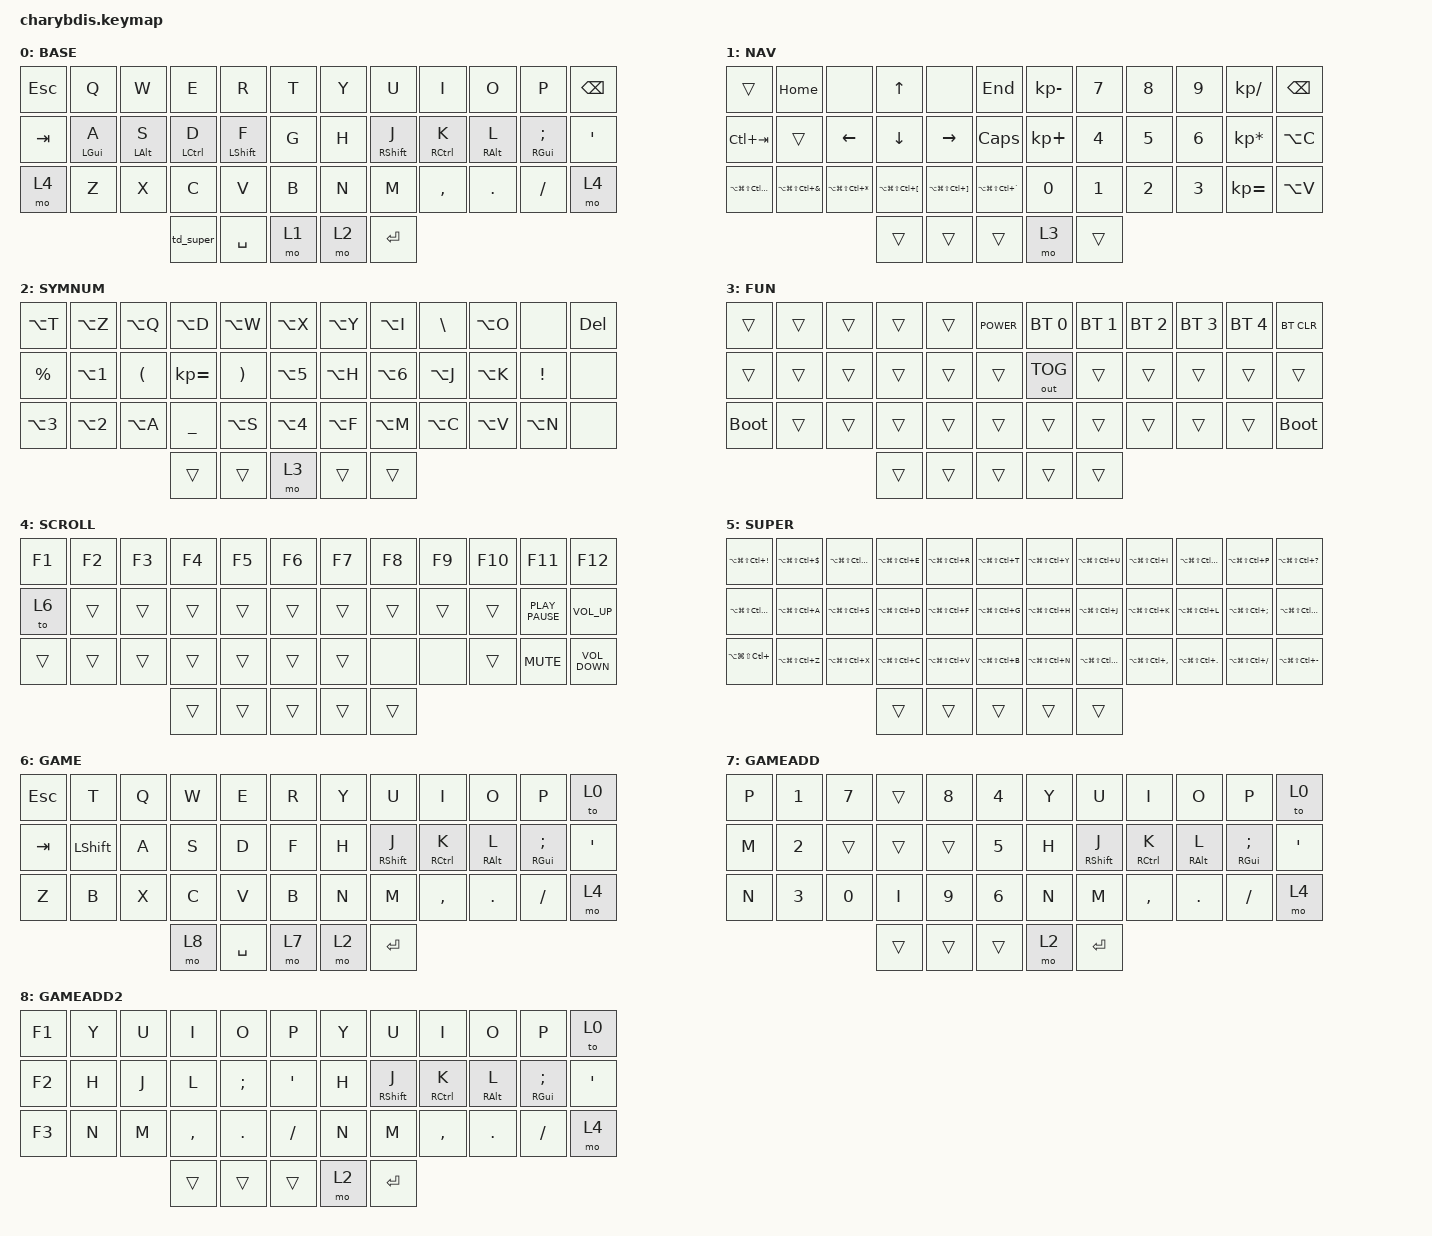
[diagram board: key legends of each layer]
#include <behaviors.dtsi>
#include <dt-bindings/zmk/bt.h>
#include <dt-bindings/zmk/keys.h>
//#include <dt-bindings/zmk/mouse.h>
#include <dt-bindings/zmk/outputs.h>

#define U_TAPPING_TERM 200

/ {
    chosen { zmk,matrix_transform = &default_transform; };
};

/ {
    combos {
        compatible = "zmk,combos";

        letterh {
            bindings = <&kp LBKT>;
            key-positions = <32 33>;
            layers = <0>;
        };
        lettersign {
            bindings = <&kp RBKT>;
            key-positions = <31 32>;
            layers = <0>;
        };
    };


    behaviors {
        td_super: td_super {
            compatible = "zmk,behavior-tap-dance";
            #binding-cells = <0>;
            tapping-term-ms = <300>;
            bindings = <&kp LGUI>, <&mo 5>, <&mo 4>;
        };

        u_mt: u_mt {
            compatible = "zmk,behavior-hold-tap";
            #binding-cells = <2>;
            tapping-term-ms = <U_TAPPING_TERM>;
            flavor = "tap-preferred";
            bindings = <&kp>, <&kp>;
        };

        u_lt: u_lt {
            compatible = "zmk,behavior-hold-tap";
            #binding-cells = <2>;
            tapping-term-ms = <U_TAPPING_TERM>;
            flavor = "tap-preferred";
            bindings = <&mo>, <&kp>;
        };

        Shift_Enter: Shift_Enter {
            compatible = "zmk,behavior-hold-tap";
            bindings = <&kp>, <&kp>;

            #binding-cells = <2>;
            hold-trigger-key-positions = <40>;
            tapping-term-ms = <100>;
        };
    };

    keymap {
        compatible = "zmk,keymap";

        BASE {
            bindings = <
&kp ESC  &kp Q         &kp W         &kp E                   &kp R               &kp T           &kp Y  &kp U               &kp I          &kp O              &kp P                 &kp BSPC
&kp TAB  &u_mt LGUI A  &u_mt LALT S  &u_mt LCTRL D           &u_mt LSHIFT F      &kp G           &kp H  &u_mt RSHIFT J      &u_mt RCTRL K  &u_mt RALT L       &u_mt RGUI SEMI       &kp APOS
&mo 4    &kp Z         &kp X         &kp C                   &kp V               &kp B           &kp N  &kp M               &kp COMMA      &kp DOT            &kp  FSLH             &mo 4
                                     &td_super               &kp SPACE           &mo 1           &mo 2  &kp RET
            >;
        };

        NAV {
            bindings = <
&trans                     &kp HOME                        &none              &kp UP                 &none              &kp END                                               &kp KP_MINUS       &kp N7          &kp N8       &kp N9  &kp KP_DIVIDE      &kp BSPC
&kp LC(TAB)                &trans                          &kp LEFT               &kp DOWN               &kp RIGHT              &kp CAPS                                              &kp KP_PLUS        &kp N4          &kp N5       &kp N6  &kp KP_MULTIPLY    &kp LA(C)
&kp LA(LG(LS(LC(CARET))))  &kp LA(LG(LS(LC(AMPS))))  &kp LA(LG(LS(LC(STAR))))     &kp LA(LG(LS(LC(LEFT_BRACKET))))  &kp LA(LG(LS(LC(RIGHT_BRACKET))))  &kp LA(LG(LS(LC(GRAVE))))      &kp N0             &kp N1          &kp N2       &kp N3  &kp KP_EQUAL       &kp LA(V)
                                    &trans     &trans     &trans                        &mo 3              &trans
            >;
        };

        SYMNUM {
            bindings = <
&kp LA(T)   &kp LA(Z)     &kp LA(Q)    &kp LA(D)         &kp LA(W)   &kp LA(X)          &kp LA(Y)  &kp LA(I)    &kp BSLH    &kp LA(O)          &none            &kp DEL
&kp PERCENT &kp LA(N1)    &kp LPAR     &kp KP_EQUAL      &kp RPAR    &kp LA(N5)         &kp LA(H)  &kp LA(N6)   &kp LA(J)   &kp LA(K)          &kp EXCLAMATION  &none
&kp LA(N3)  &kp LA(N2)    &kp LA(A)    &kp UNDERSCORE    &kp LA(S)   &kp LA(N4)         &kp LA(F)  &kp LA(M)    &kp LA(C)   &kp LA(V)          &kp LA(N)        &none
                                       &trans            &trans      &mo 3              &trans     &trans
            >;
        };

        FUN {
            bindings = <
&trans       &trans       &trans  &trans  &trans   &kp C_POWER                          &bt BT_SEL 0  &bt BT_SEL 1      &bt BT_SEL 2       &bt BT_SEL 3     &bt BT_SEL 4  &bt BT_CLR
&trans       &trans       &trans  &trans  &trans   &trans                               &out OUT_TOG  &trans            &trans             &trans           &trans        &trans
&bootloader  &trans       &trans  &trans  &trans   &trans                               &trans        &trans            &trans             &trans           &trans        &bootloader
                                  &trans  &trans   &trans                               &trans        &trans
            >;
        };

        SCROLL {
            bindings = <
&kp F1  &kp F2  &kp F3  &kp F4  &kp F5  &kp F6                                          &kp F7  &kp F8    &kp F9     &kp F10 &kp F11           &kp F12
&to 6   &trans  &trans  &trans  &trans  &trans                                          &trans  &trans    &trans     &trans  &kp K_PLAY_PAUSE  &kp C_VOLUME_UP
&trans  &trans  &trans  &trans  &trans  &trans                                          &trans  &none &none  &trans  &kp C_MUTE        &kp C_VOLUME_DOWN
                        &trans  &trans  &trans                                          &trans  &trans
            >;
        };

        SUPER {
            bindings = <
        &kp LA(LG(LS(LC(EXCLAMATION)))) &kp LA(LG(LS(LC(DOLLAR))))  &kp LA(LG(LS(LC(W))))  &kp LA(LG(LS(LC(E))))  &kp LA(LG(LS(LC(R))))  &kp LA(LG(LS(LC(T))))  &kp LA(LG(LS(LC(Y))))  &kp LA(LG(LS(LC(U))))  &kp LA(LG(LS(LC(I))))      &kp LA(LG(LS(LC(O))))    &kp LA(LG(LS(LC(P))))          &kp LA(LG(LS(LC(QUESTION))))
        &kp LA(LG(LS(LC(PERCENT))))     &kp LA(LG(LS(LC(A))))       &kp LA(LG(LS(LC(S))))  &kp LA(LG(LS(LC(D))))  &kp LA(LG(LS(LC(F))))  &kp LA(LG(LS(LC(G))))  &kp LA(LG(LS(LC(H))))  &kp LA(LG(LS(LC(J))))  &kp LA(LG(LS(LC(K))))      &kp LA(LG(LS(LC(L))))    &kp LA(LG(LS(LC(SEMICOLON))))  &kp LA(LG(LS(LC(PLUS))))
        &kp LA(LG(LS(LC(UNDERSCORE))))  &kp LA(LG(LS(LC(Z))))       &kp LA(LG(LS(LC(X))))  &kp LA(LG(LS(LC(C))))  &kp LA(LG(LS(LC(V))))  &kp LA(LG(LS(LC(B))))  &kp LA(LG(LS(LC(N))))  &kp LA(LG(LS(LC(M))))  &kp LA(LG(LS(LC(COMMA))))  &kp LA(LG(LS(LC(DOT))))  &kp LA(LG(LS(LC(SLASH))))      &kp LA(LG(LS(LC(MINUS))))
                                                                                                                                   &trans  &trans  &trans  &trans  &trans
                    >;
                };

        GAME {
                    bindings = <
        &kp ESC  &kp T      &kp Q &kp W        &kp E     &kp R               &kp Y  &kp U               &kp I          &kp O              &kp P                 &to 0
        &kp TAB  &kp LSHIFT &kp A &kp S        &kp D     &kp F               &kp H  &u_mt RSHIFT J      &u_mt RCTRL K  &u_mt RALT L       &u_mt RGUI SEMI       &kp APOS
        &kp Z    &kp B      &kp X &kp C        &kp V     &kp B               &kp N  &kp M               &kp COMMA      &kp DOT            &kp  FSLH             &mo 4
                                  &mo 8        &kp SPACE &mo 7               &mo 2  &kp RET
                    >;
                };

        GAMEADD {
            bindings = <
        &kp P &kp N1 &kp N7 &trans &kp N8 &kp N4           &kp Y  &kp U               &kp I          &kp O              &kp P                 &to 0
        &kp M &kp N2 &trans &trans &trans &kp N5           &kp H  &u_mt RSHIFT J      &u_mt RCTRL K  &u_mt RALT L       &u_mt RGUI SEMI       &kp APOS
        &kp N &kp N3 &kp N0 &kp I  &kp N9 &kp N6           &kp N  &kp M               &kp COMMA      &kp DOT            &kp  FSLH             &mo 4
                            &trans &trans &trans           &mo 2  &kp RET
            >;
        };

        GAMEADD2 {
            bindings = <
        &kp F1 &kp Y &kp U &kp I &kp O    &kp P              &kp Y  &kp U               &kp I          &kp O              &kp P                 &to 0
        &kp F2 &kp H &kp J &kp L &kp SEMI &kp APOS           &kp H  &u_mt RSHIFT J      &u_mt RCTRL K  &u_mt RALT L       &u_mt RGUI SEMI       &kp APOS
        &kp F3 &kp N &kp M &kp COMMA  &kp DOT &kp FSLH       &kp N  &kp M               &kp COMMA      &kp DOT            &kp  FSLH             &mo 4
                            &trans &trans &trans             &mo 2  &kp RET
            >;
        };

    };
};
